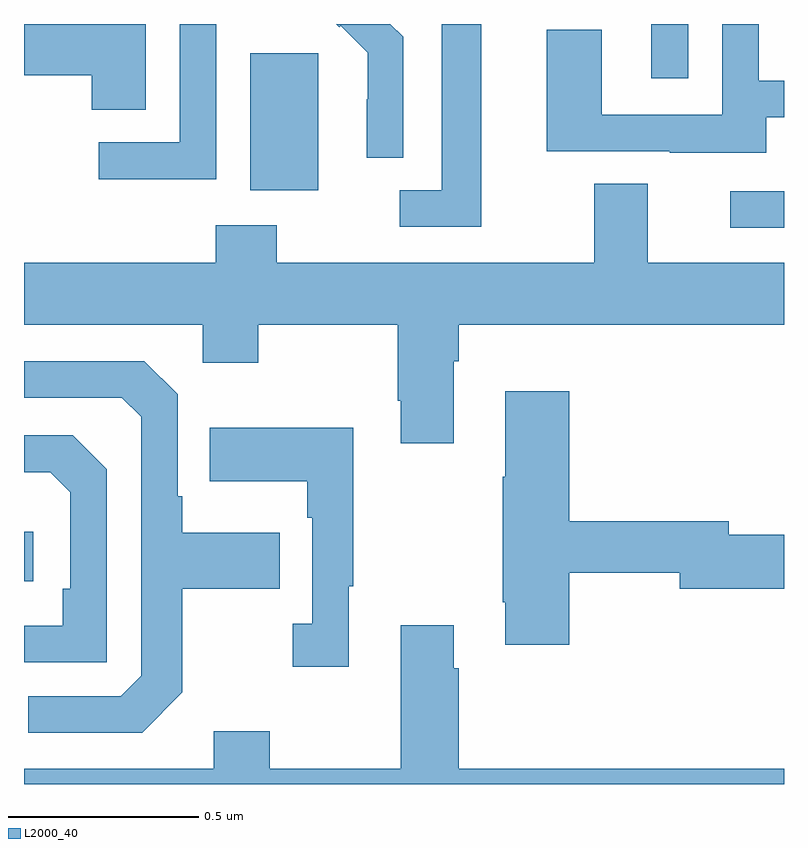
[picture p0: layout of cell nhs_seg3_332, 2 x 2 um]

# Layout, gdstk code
import gdstk
lib = gdstk.Library(unit=1e-6, precision=1e-09)
def R(c, l, rs):  # rectangles x0, y0, x1, y1
    for r in rs: c.add(gdstk.rectangle(r[:2], r[2:], *l))
def P(c, l, *ps):  # polygons
    for p in ps: c.add(gdstk.Polygon(p, *l))
L2000_40 = (2000, 40)

nhs_seg3_332 = lib.new_cell('nhs_seg3_332')
R(nhs_seg3_332, L2000_40, [(115,674.934,115.024,675.064), (116.859,675.864,117,675.96), (115.595,675.962,115.774,676.323), (116.651,676.257,116.748,676.4)])
P(nhs_seg3_332, L2000_40, [(115.506,676.4),(115.41,676.4),(115.41,676.089),(115.197,676.089),(115.197,675.991),(115.506,675.991)],
  [(115.998,676.366),(115.964,676.4),(115.822,676.4),(115.83,676.392),(115.833,676.395),(115.904,676.325),(115.904,676.202),(115.902,676.202),(115.902,676.048),(115.998,676.048)],
  [(115.321,676.4),(115,676.4),(115,676.265),(115.178,676.265),(115.178,676.174),(115.321,676.174)],
  [(116.203,676.4),(116.099,676.4),(116.099,675.963),(115.989,675.963),(115.989,675.867),(116.203,675.867)],
  [(116.953,676.155),(117,676.155),(117,676.251),(116.934,676.251),(116.934,676.4),(116.838,676.4),(116.838,676.161),(116.52,676.161),(116.52,676.385),(116.375,676.385),(116.375,676.065),(116.699,676.065),(116.699,676.061),(116.953,676.061)],
  [(116.131,675.512),(116.144,675.512),(116.144,675.608),(117,675.608),(117,675.772),(116.641,675.772),(116.641,675.98),(116.501,675.98),(116.501,675.772),(115.665,675.772),(115.665,675.871),(115.505,675.871),(115.505,675.772),(115,675.772),(115,675.608),(115.47,675.608),(115.47,675.509),(115.617,675.509),(115.617,675.608),(115.984,675.608),(115.984,675.409),(115.991,675.409),(115.991,675.297),(116.131,675.297)],
  [(115.417,674.641),(115.417,674.914),(115.673,674.914),(115.673,675.061),(115.417,675.061),(115.417,675.157),(115.404,675.157),(115.404,675.426),(115.317,675.513),(115,675.513),(115,675.417),(115.257,675.417),(115.308,675.366),(115.308,674.685),(115.254,674.631),(115.011,674.631),(115.011,674.535),(115.311,674.535)],
  [(116.435,674.956),(116.726,674.956),(116.726,674.914),(117,674.914),(117,675.056),(116.854,675.056),(116.854,675.092),(116.435,675.092),(116.435,675.433),(116.267,675.433),(116.267,675.209),(116.26,675.209),(116.26,674.878),(116.267,674.878),(116.267,674.766),(116.435,674.766)],
  [(115.855,674.921),(115.867,674.921),(115.867,675.337),(115.489,675.337),(115.489,675.197),(115.746,675.197),(115.746,675.101),(115.758,675.101),(115.758,674.822),(115.707,674.822),(115.707,674.709),(115.855,674.709)],
  [(115.218,675.228),(115.128,675.318),(115,675.318),(115,675.221),(115.069,675.221),(115.122,675.168),(115.122,674.914),(115.102,674.914),(115.102,674.817),(115,674.817),(115,674.721),(115.218,674.721)],
  [(117,674.44),(116.144,674.44),(116.144,674.705),(116.131,674.705),(116.131,674.818),(115.991,674.818),(115.991,674.44),(115.647,674.44),(115.647,674.539),(115.499,674.539),(115.499,674.44),(115,674.44),(115,674.4),(117,674.4)])

lib.write_gds('nhs_seg3_332.gds')
